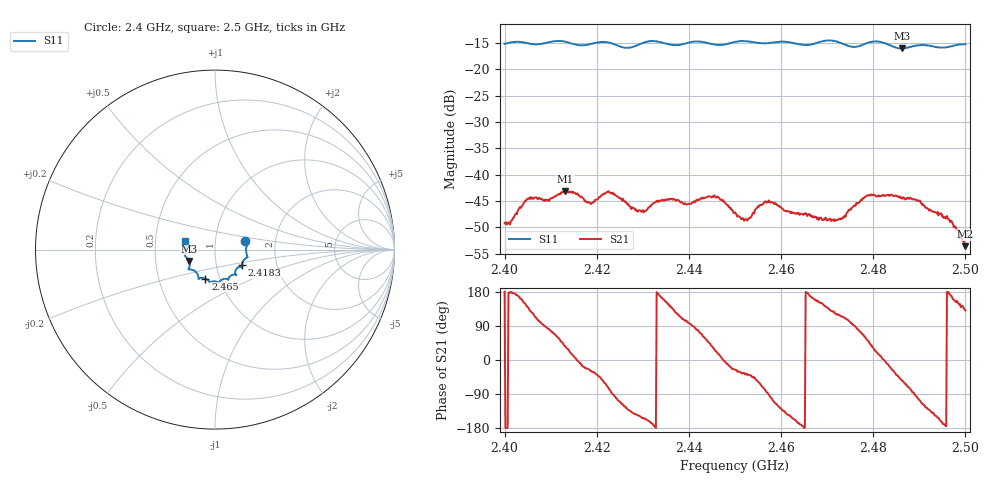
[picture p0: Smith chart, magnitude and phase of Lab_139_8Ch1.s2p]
# Hz S RI R 50
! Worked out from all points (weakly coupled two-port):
!   601 points, 2.4 GHz to 2.5 GHz, reference 50 ohm
!   highest |S21| = -43.12 dB at 2.4132 GHz (marker M1); lowest = -53.6 dB at 2.5 GHz (marker M2)
!   lowest |S11| = -16.0 dB at 2.4862 GHz (marker M3), VSWR 1.38, Z = 37.1 - j4.79 ohm
!   |S11| at or under -10 dB: start of sweep to end of sweep
!   S12 and S22 are empty: the file has one direction only
!   S11 on the Smith chart (normalised r, x): 2.4 GHz: 1.40, +0.13; 2.4183 GHz: 1.33, -0.24; 2.465 GHz: 0.86, -0.29; 2.5 GHz: 0.71, +0.07
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2.4e9  0.1688 0.0459  -0.00348 4.02e-06  0 0  0 0
2.405e9  0.1761 0.0191  -0.00447 0.00385  0 0  0 0
2.409167e9  0.177 -0.0289  0.000468 0.0057  0 0  0 0
2.413167e9  0.1777 -0.0447  0.0056 0.00417  0 0  0 0
2.416667e9  0.1548 -0.0684  0.00605 -0.00141  0 0  0 0
2.418333e9  0.1497 -0.0868  0.00497 -0.00229  0 0  0 0
2.4225e9  0.1512 -0.0987  0.00209 -0.00665  0 0  0 0
2.429167e9  0.1125 -0.1303  -0.00386 -0.00253  0 0  0 0
2.433333e9  0.1167 -0.1414  -0.00547 0.000537  0 0  0 0
2.439833e9  0.0762 -0.1621  -0.000721 0.00523  0 0  0 0
2.445667e9  0.056 -0.1625  0.00566 0.00264  0 0  0 0
2.45e9  0.0251 -0.1807  0.00397 -0.0019  0 0  0 0
2.4525e9  0.0197 -0.1841  0.00307 -0.00219  0 0  0 0
2.457e9  -0.00985 -0.1771  0.00039 -0.00553  0 0  0 0
2.465e9  -0.0531 -0.1621  -0.00425 -5.6e-05  0 0  0 0
2.466667e9  -0.0715 -0.1575  -0.00385 0.000977  0 0  0 0
2.472667e9  -0.0916 -0.1554  -0.00179 0.00332  0 0  0 0
2.478667e9  -0.1392 -0.1108  0.00384 0.00508  0 0  0 0
2.483333e9  -0.1424 -0.096  0.00627 -0.00155  0 0  0 0
2.486167e9  -0.1449 -0.063  0.00356 -0.00484  0 0  0 0
2.4965e9  -0.1625 0.0222  -0.00372 0.000399  0 0  0 0
2.5e9  -0.1668 0.0471  -0.00137 0.00159  0 0  0 0
